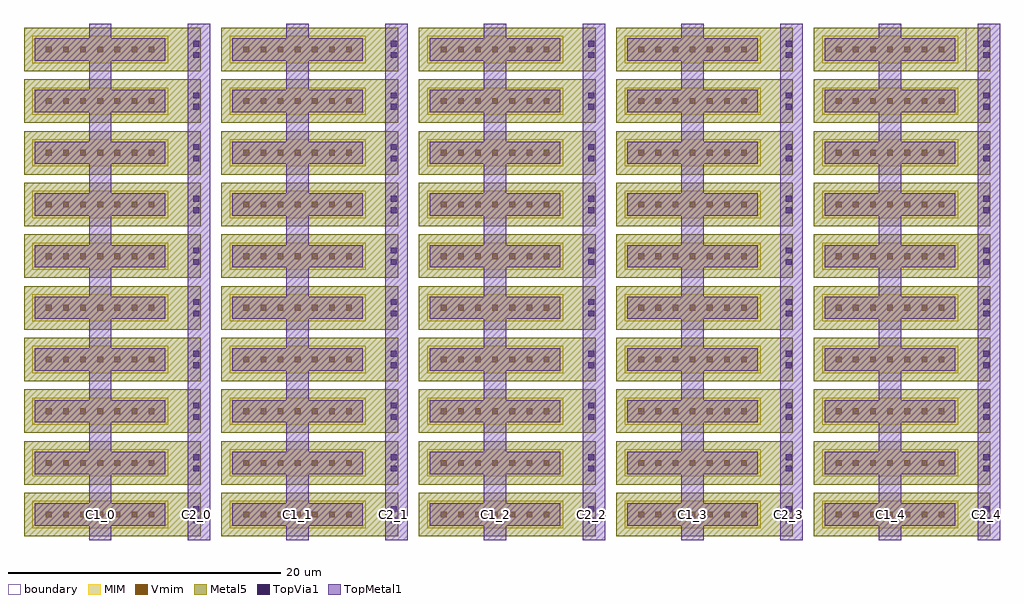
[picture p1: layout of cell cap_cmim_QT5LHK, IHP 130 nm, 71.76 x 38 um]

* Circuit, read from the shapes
.subckt cap_cmim_QT5LHK C1_0 C1_1 C1_2 C1_3 C1_4 C2_0 C2_1 C2_2 C2_3 C2_4
XC1 C1_0 C2_0 cap_cmim w=10u l=2u m=10
XC2 C1_1 C2_1 cap_cmim w=10u l=2u m=10
XC3 C1_2 C2_2 cap_cmim w=10u l=2u m=10
XC4 C1_3 C2_3 cap_cmim w=10u l=2u m=10
XC5 C1_4 C2_4 cap_cmim w=10u l=2u m=10
.ends

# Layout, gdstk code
import gdstk
lib = gdstk.Library(unit=1e-6, precision=1e-09)
def R(c, l, rs):  # rectangles x0, y0, x1, y1
    for r in rs: c.add(gdstk.rectangle(r[:2], r[2:], *l))
def A(c, l, x, y, w, h, nx, ny, dx, dy):  # array of equal rectangles
    R(c, l, [(x+i*dx, y+j*dy, x+i*dx+w, y+j*dy+h) for i in range(nx) for j in range(ny)])
MIM = (36, 0)
Metal5 = (67, 0)
TopVia1 = (125, 0)
TopMetal1 = (126, 0)
Vmim = (129, 0)
boundary = (189, 4)

cap_cmim_qt5lhk = lib.new_cell('cap_cmim_QT5LHK')
A(cap_cmim_qt5lhk, MIM, -35.28, -18.1, 10, 2, 5, 10, 14.52, 3.8)
A(cap_cmim_qt5lhk, Metal5, -35.88, -18.7, 12.98, 3.2, 5, 10, 14.52, 3.8)
A(cap_cmim_qt5lhk, TopVia1, -23.42, -17.73, 0.42, 0.42, 5, 2, 14.52, 0.84)
A(cap_cmim_qt5lhk, TopVia1, -23.42, -13.93, 0.42, 0.42, 5, 2, 14.52, 0.84)
A(cap_cmim_qt5lhk, TopVia1, -23.42, -10.13, 0.42, 0.42, 5, 2, 14.52, 0.84)
A(cap_cmim_qt5lhk, TopVia1, -23.42, -6.33, 0.42, 0.42, 5, 2, 14.52, 0.84)
A(cap_cmim_qt5lhk, TopVia1, -23.42, -2.53, 0.42, 0.42, 5, 2, 14.52, 0.84)
A(cap_cmim_qt5lhk, TopVia1, -23.42, 1.27, 0.42, 0.42, 5, 2, 14.52, 0.84)
A(cap_cmim_qt5lhk, TopVia1, -23.42, 5.07, 0.42, 0.42, 5, 2, 14.52, 0.84)
A(cap_cmim_qt5lhk, TopVia1, -23.42, 8.87, 0.42, 0.42, 5, 2, 14.52, 0.84)
A(cap_cmim_qt5lhk, TopVia1, -23.42, 12.67, 0.42, 0.42, 5, 2, 14.52, 0.84)
A(cap_cmim_qt5lhk, TopVia1, -23.42, 16.47, 0.42, 0.42, 5, 2, 14.52, 0.84)
A(cap_cmim_qt5lhk, TopMetal1, -31.1, -19, 1.64, 1.08, 5, 2, 14.52, 36.92)
A(cap_cmim_qt5lhk, TopMetal1, -23.84, -19, 1.64, 38, 5, 1, 14.52, 0)
A(cap_cmim_qt5lhk, TopMetal1, -35.08, -17.92, 9.6, 1.64, 5, 10, 14.52, 3.8)
A(cap_cmim_qt5lhk, TopMetal1, -31.1, -16.28, 1.64, 2.16, 5, 9, 14.52, 3.8)
A(cap_cmim_qt5lhk, Vmim, -34.27, -17.31, 0.42, 0.42, 7, 10, 1.26, 3.8)
A(cap_cmim_qt5lhk, Vmim, -19.75, -17.31, 0.42, 0.42, 7, 10, 1.26, 3.8)
A(cap_cmim_qt5lhk, Vmim, -5.23, -17.31, 0.42, 0.42, 7, 10, 1.26, 3.8)
A(cap_cmim_qt5lhk, Vmim, 9.29, -17.31, 0.42, 0.42, 7, 10, 1.26, 3.8)
A(cap_cmim_qt5lhk, Vmim, 23.81, -17.31, 0.42, 0.42, 7, 10, 1.26, 3.8)
R(cap_cmim_qt5lhk, boundary, [(22.2,15.5,33.4,18.7)])
cap_cmim_qt5lhk.add(gdstk.Label('C2_0', (-23.21,-17.1), layer=126, texttype=25))
cap_cmim_qt5lhk.add(gdstk.Label('C1_0', (-30.28,-17.1), layer=126, texttype=25))
cap_cmim_qt5lhk.add(gdstk.Label('C2_1', (-8.69,-17.1), layer=126, texttype=25))
cap_cmim_qt5lhk.add(gdstk.Label('C1_1', (-15.76,-17.1), layer=126, texttype=25))
cap_cmim_qt5lhk.add(gdstk.Label('C2_2', (5.83,-17.1), layer=126, texttype=25))
cap_cmim_qt5lhk.add(gdstk.Label('C1_2', (-1.24,-17.1), layer=126, texttype=25))
cap_cmim_qt5lhk.add(gdstk.Label('C2_3', (20.35,-17.1), layer=126, texttype=25))
cap_cmim_qt5lhk.add(gdstk.Label('C1_3', (13.28,-17.1), layer=126, texttype=25))
cap_cmim_qt5lhk.add(gdstk.Label('C2_4', (34.87,-17.1), layer=126, texttype=25))
cap_cmim_qt5lhk.add(gdstk.Label('C1_4', (27.8,-17.1), layer=126, texttype=25))

lib.write_gds('cap_cmim_QT5LHK.gds')
